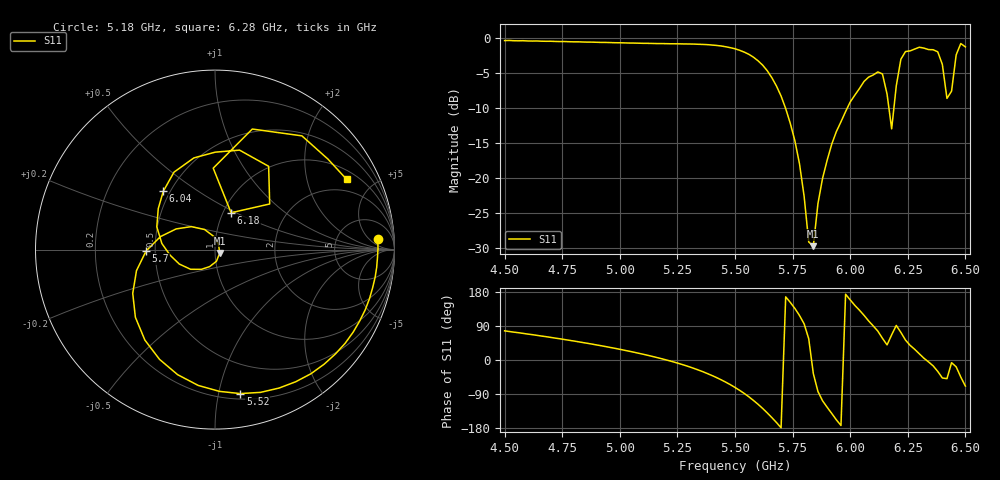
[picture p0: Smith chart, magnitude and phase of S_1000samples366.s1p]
! TOUCHSTONE file generated by CST MICROWAVE STUDIO
! Date and time: Thu Oct 27 22:24:17 2022
! Project name: L.cst
! Parameters = {Di=1.27; Epsilon_r=1.56; InnerDiameter=1.27; Length=2; Lf=10; Lg=60; OuterConductorThickness=0.2921; OuterDiameter=3.6; Wf=3; Wp=41.2; de=1.5; df=6.8; g=0.8; gx=4.69816; gy=0.815115; h=2.34; hf=1.524; px=8.20938; py=12.748; w=9.7; wx=3.51122; wy=11.9329}
! Header version: 2018
! Port assignment regex: !\s*Touchstone port\s*([0-9]+)\s*=\s*(CST MWS port|CST DS port)\s*([0-9]+|Zmin|Zmax)\s*\(\"(.*)\"\)(\s*mode\s*([0-9]+))?.*
! Touchstone port assignment:
! Touchstone port 1 = CST MWS port 1 ("")
# GHz S DB R 50
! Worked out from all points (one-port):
!   101 points, 4.5 GHz to 6.5 GHz, reference 50 ohm
!   lowest |S11| = -29.7 dB at 5.84 GHz (marker M1), VSWR 1.07, Z = 52.7 - j2.02 ohm
!   |S11| at or under -10 dB: 5.719 GHz to 5.988 GHz (268.8 MHz wide, 4.59 % of centre); 6.167945 GHz to 6.189763 GHz (21.82 MHz wide, 0.353 % of centre)
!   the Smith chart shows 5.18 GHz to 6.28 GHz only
!   S11 on the Smith chart (normalised r, x): 5.18 GHz: 14, +10; 5.52 GHz: 0.24, -1.16; 5.7 GHz: 0.45, -0.01; 6.04 GHz: 0.46, +0.37; 6.18 GHz: 1.09, +0.47; 6.28 GHz: 1.37, +3.48
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4.5  -0.40 77.0
4.76  -0.54 54.0
5  -0.71 28.3
5.18  -0.83 3.7
5.26  -0.86 -9.9
5.38  -0.98 -35.7
5.5  -1.57 -72.3
5.52  -1.78 -80.0
5.62  -3.91 -127.8
5.7  -8.31 -178.9
5.76  -14.70 136.0
5.82  -29.12 56.0
5.84  -29.72 -35.9
5.9  -17.46 -124.7
6  -9.16 158.7
6.04  -7.24 131.6
6.14  -5.16 57.2
6.18  -12.99 66.4
6.2  -6.86 91.3
6.22  -3.06 72.8
6.26  -1.87 38.7
6.28  -1.61 28.2
6.36  -1.71 -15.5
6.4  -3.80 -47.4
6.42  -8.65 -49.3
6.44  -7.61 -7.1
6.46  -2.43 -18.1
6.5  -1.30 -68.9
